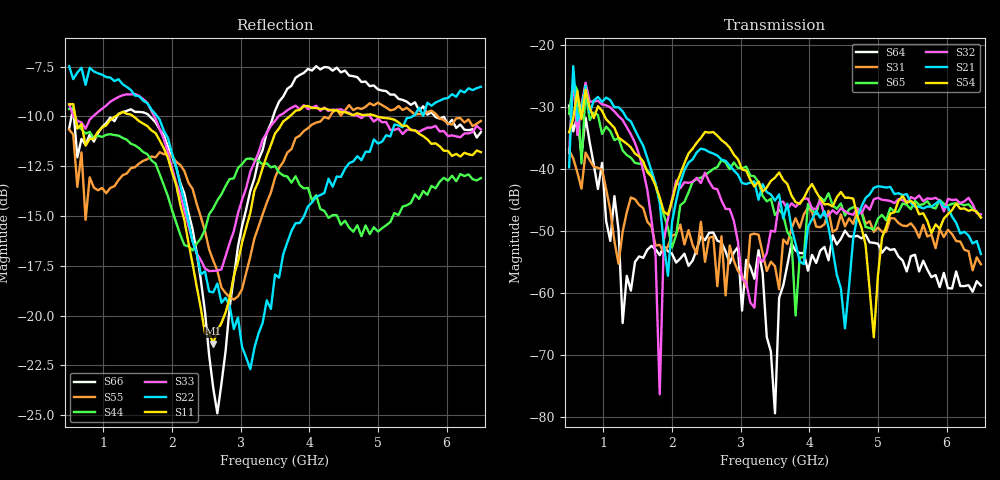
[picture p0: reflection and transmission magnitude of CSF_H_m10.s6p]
!Keysight Technologies,M9804A,MY58100912,A.14.10.03
!Date: Thursday, April 27, 2023 10:28:33
!Correction: S11(C  6-Port  )
!S12(C  6-Port  )
!S13(C  6-Port  )
!S14(C  6-Port  )
!S15(C  6-Port  )
!S16(C  6-Port  )
!S21(C  6-Port  )
!S22(C  6-Port  )
!S23(C  6-Port  )
!S24(C  6-Port  )
!S25(C  6-Port  )
!S26(C  6-Port  )
!S31(C  6-Port  )
!S32(C  6-Port  )
!S33(C  6-Port  )
!S34(C  6-Port  )
!S35(C  6-Port  )
!S36(C  6-Port  )
!S41(C  6-Port  )
!S42(C  6-Port  )
!S43(C  6-Port  )
!S44(C  6-Port  )
!S45(C  6-Port  )
!S46(C  6-Port  )
!S51(C  6-Port  )
!S52(C  6-Port  )
!S53(C  6-Port  )
!S54(C  6-Port  )
!S55(C  6-Port  )
!S56(C  6-Port  )
!S61(C  6-Port  )
!S62(C  6-Port  )
!S63(C  6-Port  )
!S64(C  6-Port  )
!S65(C  6-Port  )
!S66(C  6-Port  )
!S6P File: Measurement: :
# Hz S  RI  R 50
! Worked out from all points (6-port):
!   101 points, 500 MHz to 6.5 GHz, reference 50 ohm
!   strongest paths, dB at 500 MHz, 2 GHz, 3.5 GHz, 5 GHz, 6.5 GHz:
!     S54: -34.1, -45.2, -41.4, -57.2, -47.8
!     S21: -39.8, -48.6, -45.1, -42.8, -53.7
!     S32: -37.4, -44.9, -50.1, -44.7, -47.3
!     S65: -31.1, -52.7, -47.4, -48.0, -47.8
!     S31: -37.0, -50.7, -55.7, -49.5, -55.4
!     S64: -29.8, -53.7, -79.4, -52.1, -58.8
!   lowest |S11| = -21.4 dB at 2.6 GHz (marker M1), VSWR 1.19, Z = 42.4 + j2.17 ohm
!   |S11| at or under -10 dB: 590.1 MHz to 1.175 GHz (584.7 MHz wide, 66.3 % of centre); 1.436 GHz to 3.715 GHz (2.279 GHz wide, 88.5 % of centre); 4.98 GHz to end of sweep
